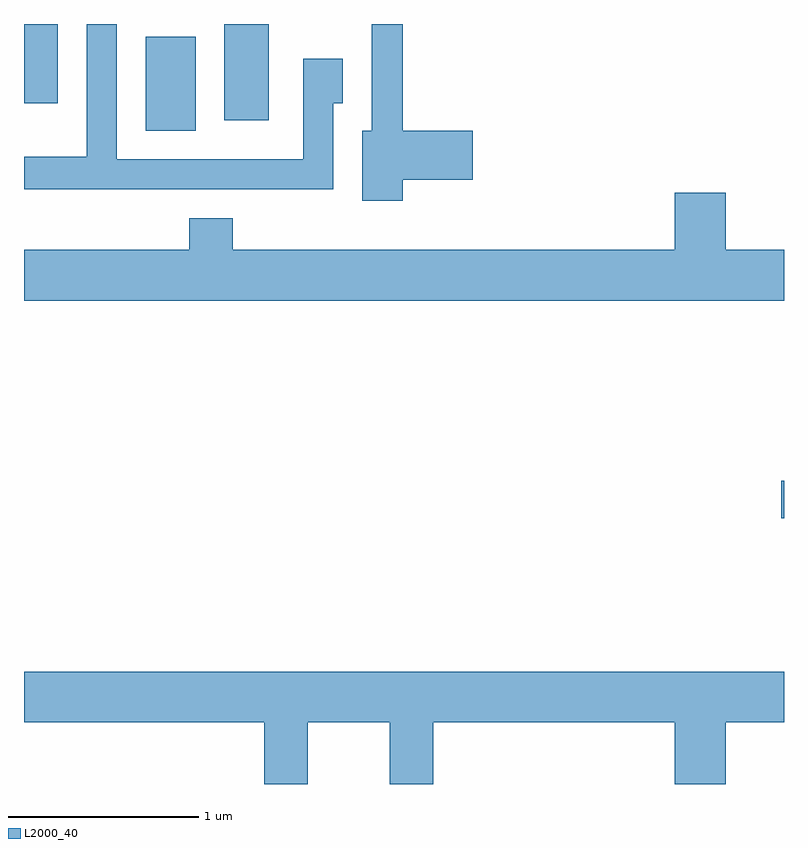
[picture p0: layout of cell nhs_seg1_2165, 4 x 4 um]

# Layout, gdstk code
import gdstk
lib = gdstk.Library(unit=1e-6, precision=1e-09)
def R(c, l, rs):  # rectangles x0, y0, x1, y1
    for r in rs: c.add(gdstk.rectangle(r[:2], r[2:], *l))
def P(c, l, *ps):  # polygons
    for p in ps: c.add(gdstk.Polygon(p, *l))
L2000_40 = (2000, 40)

nhs_seg1_2165 = lib.new_cell('nhs_seg1_2165')
R(nhs_seg1_2165, L2000_40, [(255.596,885.111,255.611,885.309), (252.251,887.151,252.514,887.644), (252.666,887.206,252.899,887.712), (251.611,887.296,251.789,887.712)])
P(nhs_seg1_2165, L2000_40, [(253.239,887.296),(253.289,887.296),(253.289,887.529),(253.081,887.529),(253.081,886.999),(252.099,886.999),(252.099,887.712),(251.941,887.712),(251.941,887.014),(251.611,887.014),(251.611,886.841),(253.239,886.841)],
  [(253.604,886.891),(253.974,886.891),(253.974,887.149),(253.604,887.149),(253.604,887.712),(253.441,887.712),(253.441,887.149),(253.391,887.149),(253.391,886.781),(253.604,886.781)],
  [(255.611,886.524),(255.304,886.524),(255.304,886.824),(255.036,886.824),(255.036,886.524),(252.709,886.524),(252.709,886.689),(252.481,886.689),(252.481,886.524),(251.611,886.524),(251.611,886.256),(255.611,886.256)],
  [(253.104,884.036),(253.536,884.036),(253.536,883.712),(253.764,883.712),(253.764,884.036),(255.036,884.036),(255.036,883.712),(255.304,883.712),(255.304,884.036),(255.611,884.036),(255.611,884.304),(251.611,884.304),(251.611,884.036),(252.876,884.036),(252.876,883.712),(253.104,883.712)])

lib.write_gds('nhs_seg1_2165.gds')
